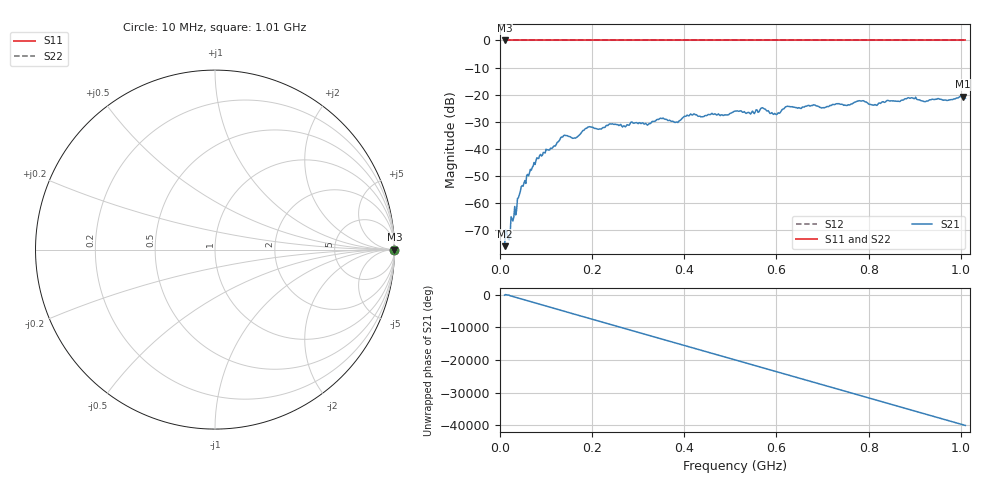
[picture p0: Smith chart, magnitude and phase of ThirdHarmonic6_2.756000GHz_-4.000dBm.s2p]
! 8/17/2025 6:55:25 AM
! C:\ANRITSUVNA\TEMP\TEMP.S2P
! CHANNEL.1
! TR.MEASUREMENT
! RAW.DATA
! RF.CORRECTION.OFF
! AVERAGING.OFF
! IF.BANDWIDTH: 5KHZ
! SWEEPTYPE:  FREQ.SWEEP(Linear)
! Reference Plane Port Info
! PORT:  PORT1  PORT2
! DISTANCE:  0  m  0  m
! TIME:  0  s  0  s
! PHASE.OFFSET:  0  deg.  0  deg.
! LOSS:  0  dB  0  dB
! REF.LOSS:  0  dB  0  dB
! REF.FREQ:  0  Hz  0  Hz
! Power Info
! POWER:  -20  dBm  -20  dBm
! EFF.POWER:  -20  dBm  -20  dBm
! SOURCE.ATTEN:  0  dB  0  dB
! TEST.ATTEN:  0  dB  0  dB
# GHZ S RI R 50.0
! FREQ.GHZ  S11RE  S11IM  S21RE  S21IM  S12RE  S12IM  S22RE  S22IM
!; PortSelection: Port_12
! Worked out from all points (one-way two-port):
!   501 points, 10 MHz to 1.01 GHz, reference 50 ohm
!   highest |S21| = -20.68 dB at 1.004 GHz (marker M1); lowest = -75.9 dB at 10 MHz (marker M2)
!   lowest |S11| = 0.0 dB at 10 MHz (marker M3)
!   |S11| at or under -10 dB: nowhere
!   |S22| runs from 0.0 to 0.0 dB; largest |S21 - S12| = 1.1
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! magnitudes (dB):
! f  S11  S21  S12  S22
! 10 MHz  0.0  -75.9  0.0  0.0
! 18 MHz  0.0  -73.2  0.0  0.0
! 28 MHz  0.0  -66.6  0.0  0.0
! 32 MHz  0.0  -61.2  0.0  0.0
! 48 MHz  0.0  -53.5  0.0  0.0
! 82 MHz  0.0  -43.5  0.0  0.0
! 136 MHz  0.0  -35.6  0.0  0.0
! 162 MHz  0.0  -36.0  0.0  0.0
! 178 MHz  0.0  -33.7  0.0  0.0
! 194 MHz  0.0  -31.8  0.0  0.0
! 322 MHz  0.0  -30.9  0.0  0.0
! 344 MHz  0.0  -29.1  0.0  0.0
! 382 MHz  0.0  -30.1  0.0  0.0
! 416 MHz  0.0  -27.5  0.0  0.0
! 510 MHz  0.0  -26.0  0.0  0.0
! 570 MHz  0.0  -24.8  0.0  0.0
! 598 MHz  0.0  -27.2  0.0  0.0
! 624 MHz  0.0  -24.2  0.0  0.0
! 678 MHz  0.0  -24.0  0.0  0.0
! 844 MHz  0.0  -22.2  0.0  0.0
! 1.004 GHz  0.0  -20.7  0.0  0.0
! 1.01 GHz  0.0  -21.4  0.0  0.0
